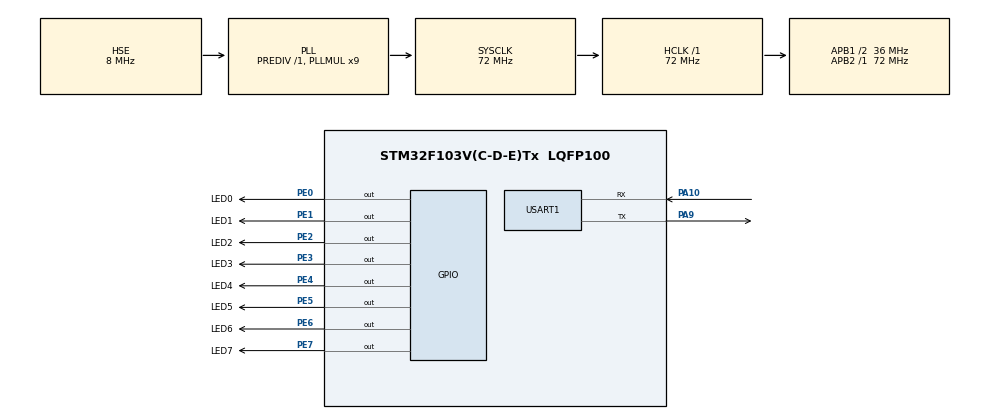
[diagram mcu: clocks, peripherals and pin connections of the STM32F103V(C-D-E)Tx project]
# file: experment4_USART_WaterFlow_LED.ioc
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Mcu.Family=STM32F1
Mcu.Name=STM32F103V(C-D-E)Tx
Mcu.Package=LQFP100
NVIC.PriorityGroup=NVIC_PRIORITYGROUP_4
NVIC.USART1_IRQn=true\:0\:0\:false\:false\:true\:true\:true
OSC_IN.Mode=HSE-External-Oscillator
OSC_IN.Signal=RCC_OSC_IN
OSC_OUT.Mode=HSE-External-Oscillator
OSC_OUT.Signal=RCC_OSC_OUT
PA10.Mode=Asynchronous
PA10.Signal=USART1_RX
PA13.Mode=Serial_Wire
PA13.Signal=SYS_JTMS-SWDIO
PA14.Mode=Serial_Wire
PA14.Signal=SYS_JTCK-SWCLK
PA9.Mode=Asynchronous
PA9.Signal=USART1_TX
PC14-OSC32_IN.Mode=LSE-External-Oscillator
PC14-OSC32_IN.Signal=RCC_OSC32_IN
PC15-OSC32_OUT.Mode=LSE-External-Oscillator
PC15-OSC32_OUT.Signal=RCC_OSC32_OUT
PE0.GPIO_Label=LED0
PE0.GPIO_Speed=GPIO_SPEED_FREQ_HIGH
PE0.PinState=GPIO_PIN_SET
PE0.Signal=GPIO_Output
PE1.GPIO_Label=LED1
PE1.GPIO_Speed=GPIO_SPEED_FREQ_HIGH
PE1.PinState=GPIO_PIN_SET
PE1.Signal=GPIO_Output
PE2.GPIO_Label=LED2
PE2.GPIO_Speed=GPIO_SPEED_FREQ_HIGH
PE2.PinState=GPIO_PIN_SET
PE2.Signal=GPIO_Output
PE3.GPIO_Label=LED3
PE3.GPIO_Speed=GPIO_SPEED_FREQ_HIGH
PE3.PinState=GPIO_PIN_SET
PE3.Signal=GPIO_Output
PE4.GPIO_Label=LED4
PE4.GPIO_Speed=GPIO_SPEED_FREQ_HIGH
PE4.PinState=GPIO_PIN_SET
PE4.Signal=GPIO_Output
PE5.GPIO_Label=LED5
PE5.GPIO_Speed=GPIO_SPEED_FREQ_HIGH
PE5.PinState=GPIO_PIN_SET
PE5.Signal=GPIO_Output
PE6.GPIO_Label=LED6
PE6.GPIO_Speed=GPIO_SPEED_FREQ_HIGH
PE6.PinState=GPIO_PIN_SET
PE6.Signal=GPIO_Output
PE7.GPIO_Label=LED7
PE7.GPIO_Speed=GPIO_SPEED_FREQ_HIGH
PE7.PinState=GPIO_PIN_SET
PE7.Signal=GPIO_Output
ProjectManager.HeapSize=0x200
ProjectManager.StackSize=0x400
ProjectManager.TargetToolchain=MDK-ARM V5
RCC.AHBFreq_Value=72000000
RCC.APB1CLKDivider=RCC_HCLK_DIV2
RCC.APB1Freq_Value=36000000
RCC.APB1TimFreq_Value=72000000
RCC.APB2Freq_Value=72000000
RCC.APB2TimFreq_Value=72000000
RCC.HCLKFreq_Value=72000000
RCC.PLLMUL=RCC_PLL_MUL9
RCC.PLLSourceVirtual=RCC_PLLSOURCE_HSE
RCC.SYSCLKFreq_VALUE=72000000
RCC.SYSCLKSource=RCC_SYSCLKSOURCE_PLLCLK
RCC.USBFreq_Value=72000000
USART1.VirtualMode=VM_ASYNC
board=custom

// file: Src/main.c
/* USER CODE BEGIN Header */
/**
  ******************************************************************************
  * @file           : main.c
  * @brief          : Main program body with Modbus RTU protocol
  *
  * Modbus RTU命令说明（注释由AI生成）:
  * ===================
  *
  * 设备地址: 0x01
  *
  * 保持寄存器映射:
  * - 0x0000: LED模式控制 (0=停止, 1=右移, 2=左移)
  * - 0x0001: LED值控制
  *
  * 线圈映射 (05/15功能码控制):
  * - 0x0001-0x0008: 单独LED控制 (0x0000=熄灭, 0xFF00=点亮 for FC05; 0=熄灭, 1=点亮 for FC15)
  *   * 0x0001: LED1控制 (GPIO0)
  *   * ...
  *   * 0x0008: LED8控制 (GPIO7)
  *
  * 支持的功能码:
  * - 01 (0x01): 读线圈状态
  * - 03 (0x03): 读保持寄存器
  * - 05 (0x05): 写单个线圈
  * - 06 (0x06): 写单个寄存器
  * - 15 (0x0F): 写多个线圈
  *
  * 命令示例:
  *
  * 1. 启动右移模式 (FC06 - 写单个寄存器):
  *    命令格式: 设备地址(01) + 功能码(06) + 寄存器地址高字节(00) + 寄存器地址低字节(00) + 数据高字节(00) + 数据低字节(01) + CRC低字节(48) + CRC高字节(0A)
  *    命令: 01 06 00 00 00 01 48 0A
  *
  * 2. 启动左移模式 (FC06):
  *    命令: 01 06 00 00 00 02 08 0B
  *
  * 3. 停止模式 (FC06):
  *    命令: 01 06 00 00 00 00 C9 0A
  *
  * 4. 单独控制LED1点亮 (FC05 - 写单个线圈):
  *    命令格式: 设备地址(01) + 功能码(05) + 线圈地址高字节(00) + 线圈地址低字节(01) + 状态高字节(FF) + 状态低字节(00) + CRC低字节(9C) + CRC高字节(3A)
  *    命令: 01 05 00 01 FF 00 9C 3A
  *    说明: FF00表示点亮，0000表示熄灭
  *
  * 5. 单独控制LED1熄灭 (FC05):
  *    命令: 01 05 00 01 00 00 CD CA
  *
  * 6. 同时控制8个LED (FC15 - 写多个线圈, 亮-灭-亮-灭...):
  *    命令格式: 设备地址(01) + 功能码(0F) + 起始地址高字节(00) + 起始地址低字节(01) + 线圈数量高字节(00) + 线圈数量低字节(08) + 字节数(01) + 数据(55) + CRC低字节(7B) + CRC高字节(5D)
  *    命令: 01 0F 00 01 00 08 01 55 7B 5D
  *    说明: 数据0x55(二进制01010101) -> LED1,3,5,7亮, 其余灭
  *
  * 7. 同时点亮所有LED (FC15):
  *    命令: 01 0F 00 01 00 08 01 FF 7A 15
  *    说明: 数据0xFF(二进制11111111) -> 全部点亮
  *
  * 8. 查询单个LED状态 (FC03 - 读保持寄存器, 以LED1为例):
  *    命令格式: 设备地址(01) + 功能码(03) + 起始地址高字节(00) + 起始地址低字节(01) + 寄存器数量高字节(00) + 寄存器数量低字节(01) + CRC低字节(90) + CRC高字节(0A)
  *    命令: 01 03 00 01 00 01 90 0A
  *    响应格式: 设备地址(01) + 功能码(03) + 字节数(02) + 寄存器值高字节(00) + 寄存器值低字节(00/01) + CRC低字节 + CRC高字节
  *
  * 9. 查询所有8个LED的状态 (FC03):
  *    命令: 01 03 00 01 00 08 45 CE
  *
  * 10. 读取单个线圈状态 (FC01 - 读线圈状态, 以LED1为例):
  *     命令格式: 设备地址(01) + 功能码(01) + 起始地址高字节(00) + 起始地址低字节(01) + 线圈数量高字节(00) + 线圈数量低字节(01) + CRC低字节(90) + CRC高字节(0C)
  *     命令: 01 01 00 01 00 01 90 0C
  *     响应格式: 设备地址(01) + 功能码(01) + 字节数(01) + 状态值(00/01) + CRC低字节 + CRC高字节
  *     读取单个线圈状态 (FC01, 以LED8为例):
  *     命令: 01 01 00 08 00 01 3D CF
  *
  *
  * 11. 读取多个线圈状态 (FC01, 读取LED1-LED8):
  *     命令: 01 01 00 01 00 08 BD CC
  *     响应格式: 设备地址(01) + 功能码(01) + 字节数(01) + 状态值(8位打包) + CRC低字节 + CRC高字节
  *     状态值示例: 0x55(二进制01010101) 表示LED1,3,5,7亮，LED2,4,6,8灭
  *
  * 12. 读取部分线圈状态 (FC01, 读取LED1-LED4):
  *     命令: 01 01 00 01 00 04 BD CD
  *
  ******************************************************************************
  */
/* USER CODE END Header */

#include "main.h"
#include "usart.h"
#include "gpio.h"

/* USER CODE BEGIN Includes */
#include "stdint.h"
#include "string.h"
/* USER CODE END Includes */

/* USER CODE BEGIN PD */
/* Modbus RTU协议配置 */
#define MODBUS_DEVICE_ADDRESS    0x01    // 从设备地址
#define MODBUS_BUFFER_SIZE       256     // 接收/发送缓冲区大小

/* Modbus功能码定义 */
#define MODBUS_READ_COILS                0x01  // 读线圈状态
#define MODBUS_READ_HOLDING_REGISTERS    0x03  // 读保持寄存器
#define MODBUS_WRITE_SINGLE_COIL         0x05  // 写单个线圈
#define MODBUS_WRITE_SINGLE_REGISTER     0x06  // 写单个寄存器
#define MODBUS_WRITE_MULTIPLE_COILS      0x0F  // 写多个线圈
#define MODBUS_WRITE_MULTIPLE_REGISTERS  0x10  // 写多个寄存器

/* Modbus寄存器地址映射 */
#define LED_MODE_REGISTER   0x0000  // LED模式控制寄存器
#define LED_VALUE_REGISTER  0x0001  // LED值控制寄存器

/* 单独LED控制线圈地址映射 (LED1-LED8) */
#define LED1_COIL_ADDRESS       0x0001
#define LED8_COIL_ADDRESS       0x0008
/* USER CODE END PD */

/* USER CODE BEGIN PV */
/* Modbus通信缓冲区 - 用于接收和发送Modbus RTU数据帧 */
uint8_t modbusRxBuffer[MODBUS_BUFFER_SIZE];  // 接收缓冲区，存储从串口接收的Modbus数据
uint8_t modbusTxBuffer[MODBUS_BUFFER_SIZE];  // 发送缓冲区，存储准备发送的Modbus响应数据

/* Modbus保持寄存器数组 - 存储设备状态和配置信息 */
uint16_t holdingRegisters[10] = {0};         // 通用保持寄存器数组，支持10个寄存器地址(0x0000-0x0009)
uint16_t ledStatusRegisters[8] = {0};        // LED状态寄存器数组，记录8个LED的当前状态(0=灭,1=亮)

/* LED控制变量 - 控制LED灯的显示模式和移位效果 */
int8_t ledMode = 0;                         // LED显示模式: 0=停止,1=右移,2=左移
uint8_t LED_value = 0x01;                   // LED移位显示的初始值，8位表示8个LED的亮灭状态
/* USER CODE END PV */

void SystemClock_Config(void);
/* USER CODE BEGIN PFP */
/**
 * @brief 计算Modbus RTU数据帧的CRC16校验码
 * @param data 指向数据缓冲区的指针
 * @param length 数据长度（不包括CRC校验码本身）
 * @return 计算得到的16位CRC校验码
 * @note 采用Modbus RTU标准CRC16多项式: 0xA001
 */
uint16_t modbus_crc16(uint8_t *data, uint16_t length);

/**
 * @brief 处理接收到的Modbus RTU数据帧
 * @param rxBuffer 接收数据缓冲区指针
 * @param length 接收数据长度
 * @note 支持的功能码：读保持寄存器(0x03)、写单个线圈(0x05)、写单个寄存器(0x06)、写多个线圈(0x0F)
 * @note 自动验证CRC校验、设备地址和功能码，处理完成后发送相应响应
 */
void modbus_process_frame(uint8_t *rxBuffer, uint16_t length);

/**
 * @brief 发送Modbus写操作响应（写单个线圈、写单个寄存器、写多个线圈）
 * @param function_code 功能码
 * @param address 寄存器/线圈起始地址
 * @param value 写入的值或线圈数量
 * @note 响应格式：设备地址 + 功能码 + 地址高字节 + 地址低字节 + 值高字节 + 值低字节 + CRC低字节 + CRC高字节
 */
void modbus_send_write_response(uint8_t function_code, uint16_t address, uint16_t value);

/**
 * @brief 发送Modbus读保持寄存器响应
 * @param register_address 寄存器起始地址
 * @param register_count 读取寄存器数量
 * @note 响应格式：设备地址 + 功能码(0x03) + 字节数 + 寄存器数据 + CRC低字节 + CRC高字节
 */
void modbus_send_read_response(uint16_t register_address, uint16_t register_count);

/**
 * @brief 发送Modbus读线圈状态响应
 * @param coil_address 线圈起始地址
 * @param coil_count 读取线圈数量
 * @note 响应格式：设备地址 + 功能码(0x01) + 字节数 + 线圈状态数据（按位打包） + CRC低字节 + CRC高字节
 */
void modbus_send_read_coils_response(uint16_t coil_address, uint16_t coil_count);

/**
 * @brief 发送Modbus异常响应
 * @param function_code 异常的功能码（最高位设置为1）
 * @param exception_code 异常代码（0x01=不支持的功能码，0x02=非法地址，0x03=非法数据值）
 * @note 异常响应格式：设备地址 + 异常功能码 + 异常代码 + CRC低字节 + CRC高字节
 */
void modbus_send_exception(uint8_t function_code, uint8_t exception_code);
/* USER CODE END PFP */

/* USER CODE BEGIN 0 */

// --- 全局GPIO查找表 ---
// 使用 static const 使其成为本文件私有的、只读的常量，提高效率和安全性
// LED GPIO端口查找表 - 按照LED编号顺序排列对应的GPIO端口
// 索引0-7对应LED0-LED7，方便通过索引快速访问对应的GPIO端口
static const GPIO_TypeDef* LED_GPIO_PORTS[] = {
    LED0_GPIO_Port,  // LED0对应的GPIO端口
    LED1_GPIO_Port,  // LED1对应的GPIO端口
    LED2_GPIO_Port,  // LED2对应的GPIO端口
    LED3_GPIO_Port,  // LED3对应的GPIO端口
    LED4_GPIO_Port,  // LED4对应的GPIO端口
    LED5_GPIO_Port,  // LED5对应的GPIO端口
    LED6_GPIO_Port,  // LED6对应的GPIO端口
    LED7_GPIO_Port   // LED7对应的GPIO端口
};

// LED GPIO引脚查找表 - 按照LED编号顺序排列对应的GPIO引脚
// 索引0-7对应LED0-LED7，配合端口查找表使用，实现LED的快速控制
static const uint16_t LED_GPIO_PINS[] = {
    LED0_Pin,  // LED0对应的GPIO引脚
    LED1_Pin,  // LED1对应的GPIO引脚
    LED2_Pin,  // LED2对应的GPIO引脚
    LED3_Pin,  // LED3对应的GPIO引脚
    LED4_Pin,  // LED4对应的GPIO引脚
    LED5_Pin,  // LED5对应的GPIO引脚
    LED6_Pin,  // LED6对应的GPIO引脚
    LED7_Pin   // LED7对应的GPIO引脚
};
// --- 查找表结束 ---

/**
 * @brief 8位无符号整数循环右移操作
 * @param numbers 要进行移位操作的8位无符号整数
 * @param bits 右移位数（0-7位）
 * @return 循环右移后的结果
 * @note 用于LED右移显示效果，例如：0b00000001 -> 0b10000000
 * @example cror(0b00000001, 1) 返回 0b10000000
 */
uint8_t cror(uint8_t numbers, uint8_t bits)
{
    return (numbers >> bits) | (numbers << (8 - bits));
}

/**
 * @brief 8位无符号整数循环左移操作
 * @param numbers 要进行移位操作的8位无符号整数
 * @param bits 左移位数（0-7位）
 * @return 循环左移后的结果
 * @note 用于LED左移显示效果，例如：0b10000000 -> 0b00000001
 * @example crol(0b10000000, 1) 返回 0b00000001
 */
uint8_t crol(uint8_t numbers, uint8_t bits)
{
    return (numbers << bits) | (numbers >> (8 - bits));
}

/**
 * @brief 根据8位数值设置8个LED的亮灭状态
 * @param numbers 8位数值，每位代表一个LED的状态（0=灭，1=亮）
 * @note 位0（LSB）对应LED0，位7（MSB）对应LED7
 * @note GPIO_PIN_RESET=LED点亮，GPIO_PIN_SET=LED熄灭（根据硬件连接决定）
 * @example LED_State_Set(0b10101010) 将点亮LED0,2,4,6，熄灭LED1,3,5,7
 */
void LED_State_Set(uint8_t numbers)
{
    for (int i = 0; i < 8; i++) {
        // 检查第i位是否为1，决定LED的亮灭状态
        // GPIO_PIN_RESET=点亮LED，GPIO_PIN_SET=熄灭LED
        GPIO_PinState state = ((numbers >> i) & 0x01) ? GPIO_PIN_RESET : GPIO_PIN_SET;
        HAL_GPIO_WritePin((GPIO_TypeDef*)LED_GPIO_PORTS[i], LED_GPIO_PINS[i], state);
    }
}

/**
 * @brief 计算Modbus RTU数据帧的CRC16校验码
 * @param data 指向数据缓冲区的指针，包含要计算CRC的数据
 * @param length 数据长度（字节数），CRC校验码本身不包含在计算范围内
 * @return 计算得到的16位CRC校验码，低字节在前高字节在后
 * @note 实现Modbus RTU标准CRC16算法：
 *       - 初始CRC值为0xFFFF
 *       - 多项式为0xA001（CRC16-IBM/Modbus标准）
 *       - 按位计算，每字节处理8位
 *       - 最终返回时高低字节已按Modbus RTU格式排列
 * @warning 输入数据长度应至少为1字节，长度为0将返回初始值0xFFFF
 */
uint16_t modbus_crc16(uint8_t *data, uint16_t length)
{
    uint16_t crc = 0xFFFF;  // CRC初始值，Modbus RTU标准

    // 遍历数据缓冲区的每个字节
    for (uint16_t i = 0; i < length; i++) {
        crc ^= (uint16_t)data[i];  // 将当前字节与CRC值进行XOR运算

        // 对当前字节的每一位进行处理
        for (uint8_t j = 0; j < 8; j++) {
            if (crc & 0x0001) {
                // 如果最低位为1，则右移一位并与多项式0xA001进行XOR
                crc = (crc >> 1) ^ 0xA001;
            } else {
                // 如果最低位为0，则只右移一位
                crc >>= 1;
            }
        }
    }
    return crc;  // 返回计算得到的CRC16校验码
}

/**
 * @brief 处理接收到的Modbus RTU数据帧
 * @param rxBuffer 接收数据缓冲区指针，包含完整的Modbus RTU数据帧
 * @param length 接收数据长度（字节数）
 * @note 支持的功能码：读线圈状态(0x01)、读保持寄存器(0x03)、写单个线圈(0x05)、写单个寄存器(0x06)、写多个线圈(0x0F)
 * @note 自动验证CRC校验、设备地址和功能码，处理完成后发送相应响应
 * @warning 输入数据长度至少应为4字节（设备地址+功能码+数据+CRC），否则直接返回
 */
void modbus_process_frame(uint8_t *rxBuffer, uint16_t length)
{
    if (length < 4) return;  // 数据长度不足，忽略该帧

    // 提取接收到的CRC校验码（低字节在前，高字节在后）
    uint16_t crc_received = (rxBuffer[length - 1] << 8) | rxBuffer[length - 2];
    // 计算CRC校验码（不包括CRC字段本身）
    uint16_t crc_calculated = modbus_crc16(rxBuffer, length - 2);

    if (crc_received != crc_calculated) return;  // CRC校验失败，忽略该帧
    if (rxBuffer[0] != MODBUS_DEVICE_ADDRESS) return;  // 设备地址不匹配，忽略该帧

    // 解析功能码和起始地址
    uint8_t function_code = rxBuffer[1];
    uint16_t address = (rxBuffer[2] << 8) | rxBuffer[3];

    switch (function_code) {
        case MODBUS_READ_COILS: {  // 读线圈状态 (0x01)
            if (length != 8) { modbus_send_exception(function_code, 0x03); return; }  // 数据长度错误
            uint16_t count = (rxBuffer[4] << 8) | rxBuffer[5];  // 读取线圈数量
            // 验证线圈地址范围（LED1-LED8: 0x0001-0x0008）
            if (address >= LED1_COIL_ADDRESS && address <= LED8_COIL_ADDRESS &&
                (address + count) <= (LED8_COIL_ADDRESS + 1) && count > 0) {
                modbus_send_read_coils_response(address, count);  // 发送读线圈响应
            } else {
                modbus_send_exception(function_code, 0x02);  // 非法地址异常
            }
            break;
        }

        case MODBUS_WRITE_SINGLE_COIL: {  // 写单个线圈 (0x05)
            if (length != 8) { modbus_send_exception(function_code, 0x03); return; }  // 数据长度错误
            uint16_t value = (rxBuffer[4] << 8) | rxBuffer[5];  // 线圈状态值
            if (address >= LED1_COIL_ADDRESS && address <= LED8_COIL_ADDRESS) {  // 地址范围检查
                uint8_t led_index = address - LED1_COIL_ADDRESS;  // 计算LED索引
                uint16_t led_state = (value == 0xFF00) ? 1 : 0;  // 转换线圈状态（FF00=亮，0000=灭）

                // 1. 控制物理LED硬件
                GPIO_PinState pin_state = (led_state == 1) ? GPIO_PIN_RESET : GPIO_PIN_SET;
                HAL_GPIO_WritePin((GPIO_TypeDef*)LED_GPIO_PORTS[led_index], LED_GPIO_PINS[led_index], pin_state);

                // 2. 更新用于快速读取的状态数组
                ledStatusRegisters[led_index] = led_state;

                // --- FIX: 新增的关键代码 ---
                // 3. 同步更新 holdingRegisters 数组，以便FC03可以查询
                holdingRegisters[address] = led_state;
                // --- 修正结束 ---

                modbus_send_write_response(function_code, address, value);  // 发送写响应
            } else {
                modbus_send_exception(function_code, 0x02);  // 非法地址异常
            }
            break;
        }

        case MODBUS_WRITE_MULTIPLE_COILS: {  // 写多个线圈 (0x0F)
            uint16_t coil_count = (rxBuffer[4] << 8) | rxBuffer[5];  // 线圈数量
            uint8_t byte_count = rxBuffer[6];  // 数据字节数

            // 验证帧长度和字节数正确性
            if (length != (9 + byte_count) || byte_count != (coil_count + 7) / 8) {
                modbus_send_exception(function_code, 0x03); return;  // 非法数据值异常
            }
            // 验证地址范围
            if (address < LED1_COIL_ADDRESS || (address + coil_count) > (LED8_COIL_ADDRESS + 1)) {
                modbus_send_exception(function_code, 0x02); return;  // 非法地址异常
            }

            uint8_t* data_bytes = &rxBuffer[7];  // 数据字节指针
            for (uint16_t i = 0; i < coil_count; ++i) {  // 遍历每个线圈
                uint16_t current_coil_addr = address + i;  // 当前线圈地址
                uint8_t led_index = current_coil_addr - LED1_COIL_ADDRESS;  // LED索引
                // 从数据字节中提取对应位的状态
                uint8_t coil_state_bit = (data_bytes[i / 8] >> (i % 8)) & 0x01;

                // 控制物理LED硬件
                GPIO_PinState pin_state = (coil_state_bit == 1) ? GPIO_PIN_RESET : GPIO_PIN_SET;
                HAL_GPIO_WritePin((GPIO_TypeDef*)LED_GPIO_PORTS[led_index], LED_GPIO_PINS[led_index], pin_state);
                // 更新状态数组
                ledStatusRegisters[led_index] = coil_state_bit;

                // --- FIX: 新增的关键代码 ---
                // 同步更新 holdingRegisters 数组
                holdingRegisters[current_coil_addr] = coil_state_bit;
                // --- 修正结束 ---
            }

            modbus_send_write_response(function_code, address, coil_count);  // 发送写响应
            break;
        }

        case MODBUS_WRITE_SINGLE_REGISTER: {  // 写单个寄存器 (0x06)
            if (length != 8) { modbus_send_exception(function_code, 0x03); return; }  // 数据长度错误
            uint16_t value = (rxBuffer[4] << 8) | rxBuffer[5];  // 寄存器值
            if (address == LED_MODE_REGISTER) {  // LED模式寄存器
                ledMode = (int8_t)value;  // 更新LED模式
                holdingRegisters[LED_MODE_REGISTER] = value;  // 同步到保持寄存器
                modbus_send_write_response(function_code, address, value);  // 发送写响应
            } else if (address == LED_VALUE_REGISTER) {  // LED值寄存器
                LED_value = (uint8_t)value;  // 更新LED值
                holdingRegisters[LED_VALUE_REGISTER] = value;  // 同步到保持寄存器
                modbus_send_write_response(function_code, address, value);  // 发送写响应
            } else {
                modbus_send_exception(function_code, 0x02);  // 非法地址异常
            }
            break;
        }

        case MODBUS_READ_HOLDING_REGISTERS: {  // 读保持寄存器 (0x03)
            if (length != 8) { modbus_send_exception(function_code, 0x03); return; }  // 数据长度错误
            uint16_t count = (rxBuffer[4] << 8) | rxBuffer[5];  // 读取寄存器数量
            // 注意：现在我们直接从 holdingRegisters 读取，地址范围可以更广
            if (address < 10 && (address + count) <= 10) {  // 地址范围检查
                 modbus_send_read_response(address, count);  // 发送读寄存器响应
            } else {
                 modbus_send_exception(function_code, 0x02);  // 非法地址异常
            }
            break;
        }

        default:  // 不支持的功能码
            modbus_send_exception(function_code, 0x01);  // 不支持的功能码异常
            break;
    }
}

/**
 * @brief 发送Modbus写操作响应（写单个线圈、写单个寄存器、写多个线圈）
 * @param function_code 功能码（原功能码，用于响应）
 * @param address 寄存器/线圈起始地址
 * @param value 写入的值或线圈数量
 * @note 响应格式：设备地址(1) + 功能码(1) + 地址高字节(1) + 地址低字节(1) + 值高字节(1) + 值低字节(1) + CRC低字节(1) + CRC高字节(1)
 * @note 总长度：8字节，超时时间：100ms
 */
void modbus_send_write_response(uint8_t function_code, uint16_t address, uint16_t value)
{
    // 构建Modbus RTU响应帧
    modbusTxBuffer[0] = MODBUS_DEVICE_ADDRESS;                    // 设备地址
    modbusTxBuffer[1] = function_code;                           // 功能码（回显）
    modbusTxBuffer[2] = (address >> 8) & 0xFF;                  // 地址高字节
    modbusTxBuffer[3] = address & 0xFF;                         // 地址低字节
    modbusTxBuffer[4] = (value >> 8) & 0xFF;                    // 值高字节
    modbusTxBuffer[5] = value & 0xFF;                           // 值低字节

    // 计算CRC校验码（对前6字节计算）
    uint16_t crc = modbus_crc16(modbusTxBuffer, 6);
    modbusTxBuffer[6] = crc & 0xFF;                             // CRC低字节
    modbusTxBuffer[7] = (crc >> 8) & 0xFF;                     // CRC高字节

    // 发送响应帧（8字节，100ms超时）
    HAL_UART_Transmit(&huart1, modbusTxBuffer, 8, 100);
}

/**
 * @brief 发送Modbus读保持寄存器响应
 * @param register_address 寄存器起始地址
 * @param register_count 读取寄存器数量
 * @note 响应格式：设备地址(1) + 功能码(1) + 字节数(1) + 寄存器数据(2×数量) + CRC低字节(1) + CRC高字节(1)
 * @note 总长度：5 + 2×寄存器数量 字节，超时时间：100ms
 */
void modbus_send_read_response(uint16_t register_address, uint16_t register_count)
{
    // 计算响应数据长度（每个寄存器2字节）
    uint8_t byte_count = register_count * 2;

    // 构建响应帧头部
    modbusTxBuffer[0] = MODBUS_DEVICE_ADDRESS;                    // 设备地址
    modbusTxBuffer[1] = MODBUS_READ_HOLDING_REGISTERS;           // 功能码(0x03)
    modbusTxBuffer[2] = byte_count;                              // 数据字节数

    // 填充寄存器数据（高字节在前，低字节在后）
    for (uint16_t i = 0; i < register_count; i++) {
        uint16_t reg_val = holdingRegisters[register_address + i];  // 获取寄存器值
        modbusTxBuffer[3 + i * 2] = (reg_val >> 8) & 0xFF;        // 寄存器值高字节
        modbusTxBuffer[4 + i * 2] = reg_val & 0xFF;               // 寄存器值低字节
    }

    // 计算CRC校验码（对前3字节 + 数据字节计算）
    uint16_t crc = modbus_crc16(modbusTxBuffer, 3 + byte_count);
    modbusTxBuffer[3 + byte_count] = crc & 0xFF;                // CRC低字节
    modbusTxBuffer[4 + byte_count] = (crc >> 8) & 0xFF;        // CRC高字节

    // 发送响应帧（5 + 数据字节数，100ms超时）
    HAL_UART_Transmit(&huart1, modbusTxBuffer, 5 + byte_count, 100);
}

/**
 * @brief 发送Modbus读线圈状态响应
 * @param coil_address 线圈起始地址
 * @param coil_count 读取线圈数量
 * @note 响应格式：设备地址(1) + 功能码(1) + 字节数(1) + 线圈状态数据(按位打包) + CRC低字节(1) + CRC高字节(1)
 * @note 线圈状态按位打包：每8个线圈占用1字节，bit0对应第一个线圈
 * @note 总长度：5 + 字节数 字节，超时时间：100ms
 */
void modbus_send_read_coils_response(uint16_t coil_address, uint16_t coil_count)
{
    // 计算需要的字节数（每8个线圈占1字节，向上取整）
    uint8_t byte_count = (coil_count + 7) / 8;

    // 构建响应帧头部
    modbusTxBuffer[0] = MODBUS_DEVICE_ADDRESS;                    // 设备地址
    modbusTxBuffer[1] = MODBUS_READ_COILS;                       // 功能码(0x01)
    modbusTxBuffer[2] = byte_count;                              // 数据字节数

    // 清空数据区域
    memset(&modbusTxBuffer[3], 0, byte_count);

    // 填充线圈状态数据（按位打包）
    for (uint16_t i = 0; i < coil_count; i++) {
        uint16_t current_coil = coil_address + i;
        // 从ledStatusRegisters数组读取线圈状态
        if (current_coil >= LED1_COIL_ADDRESS && current_coil <= LED8_COIL_ADDRESS) {
            uint8_t led_index = current_coil - LED1_COIL_ADDRESS;
            uint8_t coil_state = ledStatusRegisters[led_index];

            // 将线圈状态按位打包到字节中
            if (coil_state) {
                modbusTxBuffer[3 + (i / 8)] |= (1 << (i % 8));
            }
        }
    }

    // 计算CRC校验码（对前3字节 + 数据字节计算）
    uint16_t crc = modbus_crc16(modbusTxBuffer, 3 + byte_count);
    modbusTxBuffer[3 + byte_count] = crc & 0xFF;                // CRC低字节
    modbusTxBuffer[4 + byte_count] = (crc >> 8) & 0xFF;        // CRC高字节

    // 发送响应帧（5 + 数据字节数，100ms超时）
    HAL_UART_Transmit(&huart1, modbusTxBuffer, 5 + byte_count, 100);
}

/**
 * @brief 发送Modbus异常响应
 * @param function_code 异常的功能码（最高位设置为1）
 * @param exception_code 异常代码（0x01=不支持的功能码，0x02=非法地址，0x03=非法数据值）
 * @note 异常响应格式：设备地址(1) + 异常功能码(1) + 异常代码(1) + CRC低字节(1) + CRC高字节(1)
 * @note 总长度：5字节，超时时间：100ms
 */
void modbus_send_exception(uint8_t function_code, uint8_t exception_code)
{
    // 构建异常响应帧
    modbusTxBuffer[0] = MODBUS_DEVICE_ADDRESS;                    // 设备地址
    modbusTxBuffer[1] = function_code | 0x80;                    // 异常功能码（最高位为1）
    modbusTxBuffer[2] = exception_code;                          // 异常代码

    // 计算CRC校验码（对前3字节计算）
    uint16_t crc = modbus_crc16(modbusTxBuffer, 3);
    modbusTxBuffer[3] = crc & 0xFF;                             // CRC低字节
    modbusTxBuffer[4] = (crc >> 8) & 0xFF;                     // CRC高字节

    // 发送异常响应帧（5字节，100ms超时）
    HAL_UART_Transmit(&huart1, modbusTxBuffer, 5, 100);
}

/* USER CODE END 0 */

/**
 * @brief 应用程序主函数 - Modbus RTU从机程序入口
 * @retval int 程序返回值（实际不会返回）
 * @note 实现基于STM32的Modbus RTU从机功能，支持LED控制和状态查询
 * @note 支持的功能码：0x01(读线圈状态)、0x03(读保持寄存器)、0x05(写单个线圈)、0x06(写单个寄存器)、0x0F(写多个线圈)
 */
int main(void)
{
  /* USER CODE BEGIN 1 */
  // 用户自定义初始化代码段（预留）
  /* USER CODE END 1 */

  /* MCU配置初始化 ---------------------------------------------------------*/

  /* 复位所有外设，初始化Flash接口和SysTick */
  HAL_Init();

  /* USER CODE BEGIN Init */
  // 用户自定义初始化代码段（预留）
  /* USER CODE END Init */

  /* 配置系统时钟 */
  SystemClock_Config();

  /* USER CODE BEGIN SysInit */
  // 用户自定义系统初始化代码段（预留）
  /* USER CODE END SysInit */

  /* 初始化所有配置的外设 */
  MX_GPIO_Init();      // 初始化GPIO外设
  MX_USART1_UART_Init();  // 初始化USART1串口

  /* USER CODE BEGIN 2 */
  // 启用串口接收中断，准备接收Modbus RTU数据
  __HAL_UART_ENABLE_IT(&huart1, UART_IT_RXNE);
  /* USER CODE END 2 */

  /* 主循环 */
  while (1)
  {

    /* USER CODE BEGIN 3 */
    // 检查是否收到完整的Modbus数据帧
    if (uart1RxState == UART_RX_STATE_DEAL)
    {
      // 处理接收到的Modbus RTU数据帧
      modbus_process_frame(uart1RxBuf, uart1RxCounter);

      // 清理接收缓冲区，准备下次接收
      memset(uart1RxBuf, 0, UART1_RCV_MAX);
      uart1RxCounter = 0;
      uart1RxState = UART_RX_STATE_READY;

      // 重新启用串口接收中断
      __HAL_UART_ENABLE_IT(&huart1, UART_IT_RXNE);
    }

    // 根据LED模式执行不同的显示效果
    switch (ledMode)
    {
      case 1:  // 右移模式
        LED_State_Set(LED_value);        // 设置LED显示状态
        LED_value = cror(LED_value, 1);  // 循环右移一位
        HAL_Delay(500);                  // 延时500ms
        break;
      case 2:  // 左移模式
        LED_State_Set(LED_value);        // 设置LED显示状态
        LED_value = crol(LED_value, 1);  // 循环左移一位
        HAL_Delay(500);                  // 延时500ms
        break;
      case 0:  // 停止模式
        break;   // 什么也不做，保持当前状态
      default: // 其他模式
        break;   // 无效模式，保持停止状态
    }
  }
  /* USER CODE END 3 */
}

void SystemClock_Config(void)
{
  RCC_OscInitTypeDef RCC_OscInitStruct = {0};
  RCC_ClkInitTypeDef RCC_ClkInitStruct = {0};

  /** Initializes the CPU, AHB and APB busses clocks
  */
  RCC_OscInitStruct.OscillatorType = RCC_OSCILLATORTYPE_HSE;
  RCC_OscInitStruct.HSEState = RCC_HSE_ON;
  RCC_OscInitStruct.HSEPredivValue = RCC_HSE_PREDIV_DIV1;
  RCC_OscInitStruct.HSIState = RCC_HSI_ON;
  RCC_OscInitStruct.PLL.PLLState = RCC_PLL_ON;
  RCC_OscInitStruct.PLL.PLLSource = RCC_PLLSOURCE_HSE;
  RCC_OscInitStruct.PLL.PLLMUL = RCC_PLL_MUL9;
  if (HAL_RCC_OscConfig(&RCC_OscInitStruct) != HAL_OK)
  {
    Error_Handler();
  }
  /** Initializes the CPU, AHB and APB busses clocks
  */
  RCC_ClkInitStruct.ClockType = RCC_CLOCKTYPE_HCLK|RCC_CLOCKTYPE_SYSCLK
                              |RCC_CLOCKTYPE_PCLK1|RCC_CLOCKTYPE_PCLK2;
  RCC_ClkInitStruct.SYSCLKSource = RCC_SYSCLKSOURCE_PLLCLK;
  RCC_ClkInitStruct.AHBCLKDivider = RCC_SYSCLK_DIV1;
  RCC_ClkInitStruct.APB1CLKDivider = RCC_HCLK_DIV2;
  RCC_ClkInitStruct.APB2CLKDivider = RCC_HCLK_DIV1;

  if (HAL_RCC_ClockConfig(&RCC_ClkInitStruct, FLASH_LATENCY_2) != HAL_OK)
  {
    Error_Handler();
  }
}

/* USER CODE BEGIN 4 */
/**
 * @brief UART串口中断处理函数 - 处理Modbus RTU数据接收
 * @param huart 指向UART外设句柄的指针
 * @note 实现串口空闲中断+接收中断的Modbus RTU帧接收逻辑
 * @note 接收状态机：READY -> START -> 接收数据 -> IDLE触发 -> DEAL
 * @warning 必须在main函数中启用串口接收中断：__HAL_UART_ENABLE_IT(&huart1, UART_IT_RXNE)
 */
void USER_UART_IRQHandler(UART_HandleTypeDef *huart)
{
  // 仅处理USART1的中断
  if (huart->Instance == USART1)
  {
    // 处理接收数据寄存器非空中断（有新数据到达）
    if (__HAL_UART_GET_FLAG(huart, UART_FLAG_RXNE) != RESET)
    {
        // 首次接收到数据时，切换到开始状态并启用空闲中断
        if (uart1RxState == UART_RX_STATE_READY) {
            uart1RxState = UART_RX_STATE_START;
            __HAL_UART_ENABLE_IT(huart, UART_IT_IDLE);
        }

        // 检查缓冲区是否未满，将接收到的数据存入缓冲区
        if (uart1RxCounter < UART1_RCV_MAX) {
            // 读取串口数据寄存器（自动清除RXNE标志）
            uart1RxBuf[uart1RxCounter++] = (uint8_t)(huart->Instance->DR & 0xFF);
        }
        // 注意：如果缓冲区满了，数据将被丢弃（实际应用中应考虑缓冲区溢出处理）
    }
    // 处理串口空闲中断（数据帧接收完成）
    else if (__HAL_UART_GET_FLAG(huart, UART_FLAG_IDLE) != RESET)
    {
        // 清除串口空闲标志
        __HAL_UART_CLEAR_IDLEFLAG(huart);

        // 禁用空闲中断和接收中断，防止在处理数据时被中断
        __HAL_UART_DISABLE_IT(huart, UART_IT_IDLE);
        __HAL_UART_DISABLE_IT(huart, UART_IT_RXNE);

        // 切换到数据处理状态，主循环会检测到此状态并处理Modbus帧
        uart1RxState = UART_RX_STATE_DEAL;
    }
  }
}
/* USER CODE END 4 */

void Error_Handler(void)
{
  while(1)
  {
  }
}
